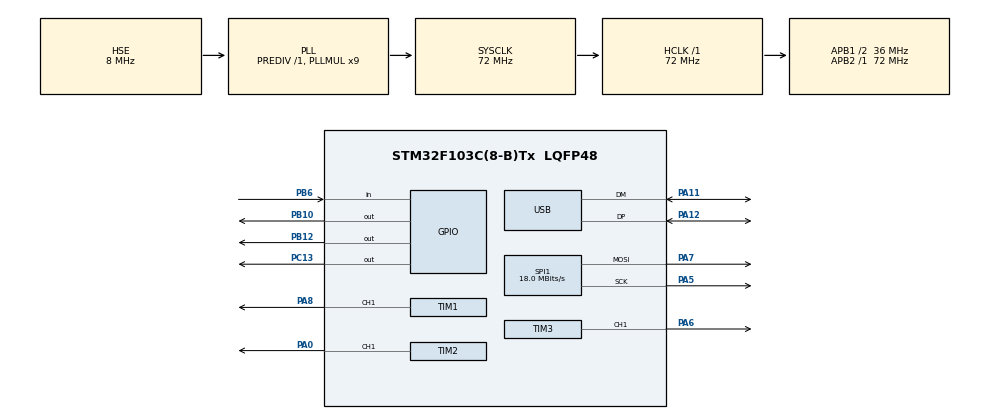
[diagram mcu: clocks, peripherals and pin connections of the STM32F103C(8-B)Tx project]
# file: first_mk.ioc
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Mcu.Family=STM32F1
USB_DEVICE.CLASS_NAME_FS=CDC
SPI1.VirtualType=VM_MASTER
PA11.Mode=Device
NVIC.TIM1_UP_IRQn=true\:0\:0\:false\:false\:true\:true\:true
RCC.SYSCLKSource=RCC_SYSCLKSOURCE_PLLCLK
ProjectManager.StackSize=0x400
PD1-OSC_OUT.Signal=RCC_OSC_OUT
USB_DEVICE.MANUFACTURER_STRING=STmMicroelectronics
PA12.Signal=USB_DP
TIM1.Prescaler=0
SPI1.CLKPolarity=SPI_POLARITY_HIGH
SPI1.Direction=SPI_DIRECTION_2LINES
RCC.HCLKFreq_Value=72000000
RCC.APB2TimFreq_Value=72000000
TIM3.Period=719
PB6.Signal=GPIO_Input
SPI1.CalculateBaudRate=18.0 MBits/s
RCC.AHBFreq_Value=72000000
TIM3.Channel-PWM\ Generation1\ CH1=TIM_CHANNEL_1
RCC.PLLMUL=RCC_PLL_MUL9
TIM1.Channel-PWM\ Generation1\ CH1=TIM_CHANNEL_1
PA14.Mode=Serial_Wire
TIM3.Prescaler=0
NVIC.TIM2_IRQn=true\:0\:0\:false\:false\:true\:true\:true
SPI1.DataSize=SPI_DATASIZE_16BIT
PA8.Signal=S_TIM1_CH1
TIM2.Channel-PWM\ Generation1\ CH1=TIM_CHANNEL_1
SH.S_TIM3_CH1.0=TIM3_CH1,PWM Generation1 CH1
TIM4.Period=17999
VP_TIM3_VS_ClockSourceITR.Mode=TriggerSource_ITR1
VP_TIM1_VS_ClockSourceINT.Mode=Internal
Mcu.Package=LQFP48
TIM2.Prescaler=719
PA6.Signal=S_TIM3_CH1
TIM2.TIM_MasterOutputTrigger=TIM_TRGO_ENABLE
RCC.APB1TimFreq_Value=72000000
TIM1.Period=1799
SPI1.BaudRatePrescaler=SPI_BAUDRATEPRESCALER_4
VP_TIM3_VS_ClockSourceINT.Mode=Internal
PA5.Mode=TX_Only_Simplex_Unidirect_Master
RCC.PLLSourceVirtual=RCC_PLLSOURCE_HSE
TIM1.OCPolarity_1=TIM_OCPOLARITY_HIGH
PA7.Mode=TX_Only_Simplex_Unidirect_Master
PD1-OSC_OUT.Mode=HSE-External-Oscillator
USB_DEVICE.VirtualModeFS=Cdc_FS
TIM2.OCMode_PWM-PWM\ Generation1\ CH1=TIM_OCMODE_PWM2
PB6.GPIO_PuPd=GPIO_PULLUP
PC13-TAMPER-RTC.Signal=GPIO_Output
RCC.USBPrescaler=RCC_USBCLKSOURCE_PLL_DIV1_5
SPI1.CLKPhase=SPI_PHASE_2EDGE
PD0-OSC_IN.Signal=RCC_OSC_IN
RCC.APB1CLKDivider=RCC_HCLK_DIV2
PA0-WKUP.Signal=S_TIM2_CH1_ETR
PA13.Signal=SYS_JTMS-SWDIO
TIM1.AutoReloadPreload=TIM_AUTORELOAD_PRELOAD_DISABLE
TIM3.Pulse-PWM\ Generation1\ CH1=1
SH.S_TIM1_CH1.0=TIM1_CH1,PWM Generation1 CH1
ProjectManager.TargetToolchain=STM32CubeIDE
USB_DEVICE.PRODUCT_STRING_CDC_FS=STM32 Vvirtual ComPort
VP_USB_DEVICE_VS_USB_DEVICE_CDC_FS.Mode=CDC_FS
RCC.USBFreq_Value=48000000
TIM4.Prescaler=3
PD0-OSC_IN.Mode=HSE-External-Oscillator
PB10.Signal=GPIO_Output
PA5.Signal=SPI1_SCK
board=custom
NVIC.TIM3_IRQn=true\:0\:0\:false\:false\:true\:true\:true
TIM1.TIM_MasterOutputTrigger=TIM_TRGO_RESET
RCC.APB2Freq_Value=72000000
VP_TIM2_VS_ClockSourceINT.Mode=Internal
SPI1.Mode=SPI_MODE_MASTER
NVIC.USB_LP_CAN1_RX0_IRQn=true\:1\:0\:true\:false\:true\:false\:true
TIM2.Period=9
PA13.Mode=Serial_Wire
Mcu.Name=STM32F103C(8-B)Tx
RCC.SYSCLKFreq_VALUE=72000000
PA12.Mode=Device
TIM3.TIM_MasterSlaveMode=TIM_MASTERSLAVEMODE_ENABLE
PA11.Signal=USB_DM
SH.S_TIM2_CH1_ETR.0=TIM2_CH1,PWM Generation1 CH1
PA14.Signal=SYS_JTCK-SWCLK
ProjectManager.HeapSize=0x200
VP_TIM4_VS_ClockSourceINT.Mode=Internal
NVIC.PriorityGroup=NVIC_PRIORITYGROUP_4
VP_TIM3_VS_ControllerModeGated.Mode=Gated Mode
TIM2.TIM_MasterSlaveMode=TIM_MASTERSLAVEMODE_ENABLE
TIM3.TIM_MasterOutputTrigger=TIM_TRGO_ENABLE
NVIC.TIM4_IRQn=true\:0\:0\:false\:false\:true\:true\:true
RCC.APB1Freq_Value=36000000
USB_DEVICE.VirtualMode=Cdc
PB12.Signal=GPIO_Output
PA7.Signal=SPI1_MOSI

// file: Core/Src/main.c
// This is a personal academic project. Dear PVS-Studio, please check it.
// PVS-Studio Static Code Analyzer for C, C++, C#, and Java: https://pvs-studio.com

/* USER CODE BEGIN Header */
/**
  ******************************************************************************
  * @file           : main.c
  * @brief          : Main program body
  ******************************************************************************
  * @attention
  *
  * <h2><center>&copy; Copyright (c) 2020 STMicroelectronics.
  * All rights reserved.</center></h2>
  *
  * This software component is licensed by ST under BSD 3-Clause license,
  * the "License"; You may not use this file except in compliance with the
  * License. You may obtain a copy of the License at:
  *                        opensource.org/licenses/BSD-3-Clause
  *
  ******************************************************************************
  */
/* USER CODE END Header */
#include "main.h"
#include "usb_device.h"

/* USER CODE BEGIN Includes */
#include "communicationWithPC.h"
#include "usbd_cdc_if.h"
#include "skinConduction.h"
#include "hearing.h"
/* USER CODE END Includes */

/* USER CODE BEGIN PD */
#define SEND_VAR(var_addr) do{}while(CDC_Transmit_FS((uint8_t*) (var_addr), sizeof(*(var_addr)))==USBD_BUSY)
/* USER CODE END PD */

SPI_HandleTypeDef hspi1;

TIM_HandleTypeDef htim1;
TIM_HandleTypeDef htim2;
TIM_HandleTypeDef htim3;
TIM_HandleTypeDef htim4;

void SystemClock_Config(void);
static void MX_GPIO_Init(void);
static void MX_TIM1_Init(void);
static void MX_TIM4_Init(void);
static void MX_TIM3_Init(void);
static void MX_TIM2_Init(void);
static void MX_SPI1_Init(void);

/* USER CODE BEGIN 0 */
volatile Measures currMeasure;
Button button;
CommandWriter writer;
SkinConductionTester skinTester;
TonePin* tone_pins; /// This is the array of pins that make tones. The first pin is A10 (equals right speaker) and the second is A9 (equals left speaker)
HearingTester hearingTester;
RandInitializer randInitializer;

void send_command(CommandWriter* ptr);
/* USER CODE END 0 */

int main(void)
{

  /* MCU Configuration--------------------------------------------------------*/

  /* Reset of all peripherals, Initializes the Flash interface and the Systick. */
  HAL_Init();

  /* Configure the system clock */
  SystemClock_Config();

  /* Initialize all configured peripherals */
  MX_GPIO_Init();
  MX_TIM1_Init();
  MX_USB_DEVICE_Init();
  MX_TIM4_Init();
  MX_TIM3_Init();
  MX_TIM2_Init();
  MX_SPI1_Init();
  /* USER CODE BEGIN 2 */

    uint16_t LED_flashs_delay;
#ifndef NDEBUG
    LED_flashs_delay = 300;
#else
    LED_flashs_delay = 150;
#endif
    HAL_GPIO_WritePin(GPIOC, GPIO_PIN_13, GPIO_PIN_RESET);
    HAL_Delay(LED_flashs_delay);
    HAL_GPIO_TogglePin(GPIOC, GPIO_PIN_13);
    HAL_Delay(LED_flashs_delay);
    HAL_GPIO_TogglePin(GPIOC, GPIO_PIN_13);
    HAL_Delay(LED_flashs_delay - 100);
//    HAL_GPIO_WritePin(GPIOC, GPIO_PIN_13, GPIO_PIN_SET); // located below (after initialisation)

    write_pin_if_in_debug(GPIOB, GPIO_PIN_12, GPIO_PIN_SET);//show that initialisation started

    currMeasure = None;
    RandInitializer_ctor(&randInitializer);

    ConstructDiode(&skinTester);

    TonePin tone_pins_init[2];
    TonePin_ctor(&tone_pins_init[0], LeftDynamic);
    tone_pins_init[0].dx[0] = freq_to_dx(&tone_pins_init[0], NOTE_A4);//A4 == 440 Hz
    TonePin_ctor(&tone_pins_init[1], RightDynamic);
    tone_pins_init[1].dx[0] = freq_to_dx(&tone_pins_init[1], NOTE_A4);
    tone_pins=tone_pins_init;

    Pin button_pin = {GPIOB, GPIO_PIN_6};
    Button_ctor(&button, button_pin);

    CommandWriter_ctor(&writer);

    HearingTester_ctor(&hearingTester);
    uint16_t notes_1[] = {NOTE_C4, NOTE_G3, NOTE_G3, NOTE_A3, NOTE_G3, 0, NOTE_B3, NOTE_C4};
    uint8_t durations_1[] = {4, 8, 8, 4, 4, 4, 4, 4};

    write_pin_if_in_debug(GPIOB, GPIO_PIN_12, GPIO_PIN_RESET);//show that initialisation finished
    HAL_GPIO_WritePin(GPIOC, GPIO_PIN_13, GPIO_PIN_SET);

//#define DEBUG_BY_ST_LINK // macro need for preventing mk responding by USB
//    uint8_t cmd_10[]={0x10, 0x05, 0x00, 0x00, 0x50, 0xc3, 0xa0, 0x0f, 0xf1}; // volume - 50000, freq - 4000
//    process_cmd(cmd_10, sizeof_arr(cmd_10));
//    uint8_t cmd_11[]={0x11, 0x03, 0x00, 0x01, 0x0b, 0x02, 0x3b}; // freq - 523
//    uint8_t cmd_11[] = {0x11, 0x03, 0x00, 0x01, 0xa0, 0x0f, 0xdd}; // freq - 4000
//    uint8_t cmd_12_prep[] = {0x12, 0x03, 0x00, 0x00, 0x00, 0x00, 0x2d}; // wait_for_press
//    uint8_t cmd_12[] = {0x12, 0x02, 0x00, 0xd6, 0x01, 0x03}; // ampl - 470
//    uint8_t cmd_13[] = {0x13, 0x00, 0x00, 0x2a};
//    process_cmd(cmd_11, sizeof_arr(cmd_11));
//    process_cmd(cmd_12_prep, sizeof_arr(cmd_12_prep));
//    process_cmd(cmd_12, sizeof_arr(cmd_12));
//    process_cmd(cmd_13, sizeof_arr(cmd_13));
//    process_cmd(cmd_13, sizeof_arr(cmd_13));
//    uint8_t cmd_12[] = {0x12, 0x02, 0x00, 0xff, 0xff, 0x2a};
//    uint8_t cmd_18[]={0x18, 0x0a, 0x00,   0x64, 0x00, 0x0a, 0x00,   0x0a, 0x00, 0x0a, 0x00,   0xd0, 0x07, 0x8d};
//    len = sizeof_arr(cmd_12);
//    process_cmd(cmd_12, &len);

  /* USER CODE END 2 */

  /* Infinite loop */
  /* USER CODE BEGIN WHILE */
    // Код для дебага режима болевой чувствительности
//    int len = 14;
//    uint8_t buf[] = {24, 10, 0, 50, 0, 200, 0, 10, 0, 150, 0, 208, 7, 165};
 //   process_cmd(buf, &len);
  while (1)
  {
      if (currMeasure == Hearing)
      {
          hearing_handle(&hearingTester);
      }
      if (currMeasure == SkinConduction && (button.state == Pressed || button.state == Timeout))
      {
          SkinConductionEnd(&skinTester);
      }
      if (writer.is_sending)
      {
          send_command(&writer);
      }
    /* USER CODE END WHILE */

    /* USER CODE BEGIN 3 */
  }

#ifdef __clang__
#pragma clang diagnostic push
#pragma ide diagnostic ignored "hicpp-signed-bitwise"
#pragma ide diagnostic ignored "OCInconsistentNamingInspection"
#endif

  /* USER CODE END 3 */
}

void SystemClock_Config(void)
{
  RCC_OscInitTypeDef RCC_OscInitStruct = {0};
  RCC_ClkInitTypeDef RCC_ClkInitStruct = {0};
  RCC_PeriphCLKInitTypeDef PeriphClkInit = {0};

  /** Initializes the RCC Oscillators according to the specified parameters
  * in the RCC_OscInitTypeDef structure.
  */
  RCC_OscInitStruct.OscillatorType = RCC_OSCILLATORTYPE_HSE;
  RCC_OscInitStruct.HSEState = RCC_HSE_ON;
  RCC_OscInitStruct.HSEPredivValue = RCC_HSE_PREDIV_DIV1;
  RCC_OscInitStruct.HSIState = RCC_HSI_ON;
  RCC_OscInitStruct.PLL.PLLState = RCC_PLL_ON;
  RCC_OscInitStruct.PLL.PLLSource = RCC_PLLSOURCE_HSE;
  RCC_OscInitStruct.PLL.PLLMUL = RCC_PLL_MUL9;
  if (HAL_RCC_OscConfig(&RCC_OscInitStruct) != HAL_OK)
  {
    Error_Handler();
  }
  /** Initializes the CPU, AHB and APB buses clocks
  */
  RCC_ClkInitStruct.ClockType = RCC_CLOCKTYPE_HCLK|RCC_CLOCKTYPE_SYSCLK
                              |RCC_CLOCKTYPE_PCLK1|RCC_CLOCKTYPE_PCLK2;
  RCC_ClkInitStruct.SYSCLKSource = RCC_SYSCLKSOURCE_PLLCLK;
  RCC_ClkInitStruct.AHBCLKDivider = RCC_SYSCLK_DIV1;
  RCC_ClkInitStruct.APB1CLKDivider = RCC_HCLK_DIV2;
  RCC_ClkInitStruct.APB2CLKDivider = RCC_HCLK_DIV1;

  if (HAL_RCC_ClockConfig(&RCC_ClkInitStruct, FLASH_LATENCY_2) != HAL_OK)
  {
    Error_Handler();
  }
  PeriphClkInit.PeriphClockSelection = RCC_PERIPHCLK_USB;
  PeriphClkInit.UsbClockSelection = RCC_USBCLKSOURCE_PLL_DIV1_5;
  if (HAL_RCCEx_PeriphCLKConfig(&PeriphClkInit) != HAL_OK)
  {
    Error_Handler();
  }
}

static void MX_SPI1_Init(void)
{

  /* SPI1 parameter configuration*/
  hspi1.Instance = SPI1;
  hspi1.Init.Mode = SPI_MODE_MASTER;
  hspi1.Init.Direction = SPI_DIRECTION_1LINE;
  hspi1.Init.DataSize = SPI_DATASIZE_16BIT;
  hspi1.Init.CLKPolarity = SPI_POLARITY_HIGH;
  hspi1.Init.CLKPhase = SPI_PHASE_2EDGE;
  hspi1.Init.NSS = SPI_NSS_SOFT;
  hspi1.Init.BaudRatePrescaler = SPI_BAUDRATEPRESCALER_4;
  hspi1.Init.FirstBit = SPI_FIRSTBIT_MSB;
  hspi1.Init.TIMode = SPI_TIMODE_DISABLE;
  hspi1.Init.CRCCalculation = SPI_CRCCALCULATION_DISABLE;
  hspi1.Init.CRCPolynomial = 10;
  if (HAL_SPI_Init(&hspi1) != HAL_OK)
  {
    Error_Handler();
  }

}

static void MX_TIM1_Init(void)
{

  TIM_ClockConfigTypeDef sClockSourceConfig = {0};
  TIM_MasterConfigTypeDef sMasterConfig = {0};
  TIM_OC_InitTypeDef sConfigOC = {0};
  TIM_BreakDeadTimeConfigTypeDef sBreakDeadTimeConfig = {0};

  htim1.Instance = TIM1;
  htim1.Init.Prescaler = 0;
  htim1.Init.CounterMode = TIM_COUNTERMODE_UP;
  htim1.Init.Period = 1799;
  htim1.Init.ClockDivision = TIM_CLOCKDIVISION_DIV1;
  htim1.Init.RepetitionCounter = 0;
  htim1.Init.AutoReloadPreload = TIM_AUTORELOAD_PRELOAD_DISABLE;
  if (HAL_TIM_Base_Init(&htim1) != HAL_OK)
  {
    Error_Handler();
  }
  sClockSourceConfig.ClockSource = TIM_CLOCKSOURCE_INTERNAL;
  if (HAL_TIM_ConfigClockSource(&htim1, &sClockSourceConfig) != HAL_OK)
  {
    Error_Handler();
  }
  if (HAL_TIM_PWM_Init(&htim1) != HAL_OK)
  {
    Error_Handler();
  }
  sMasterConfig.MasterOutputTrigger = TIM_TRGO_RESET;
  sMasterConfig.MasterSlaveMode = TIM_MASTERSLAVEMODE_DISABLE;
  if (HAL_TIMEx_MasterConfigSynchronization(&htim1, &sMasterConfig) != HAL_OK)
  {
    Error_Handler();
  }
  sConfigOC.OCMode = TIM_OCMODE_PWM1;
  sConfigOC.Pulse = 0;
  sConfigOC.OCPolarity = TIM_OCPOLARITY_HIGH;
  sConfigOC.OCNPolarity = TIM_OCNPOLARITY_HIGH;
  sConfigOC.OCFastMode = TIM_OCFAST_DISABLE;
  sConfigOC.OCIdleState = TIM_OCIDLESTATE_RESET;
  sConfigOC.OCNIdleState = TIM_OCNIDLESTATE_RESET;
  if (HAL_TIM_PWM_ConfigChannel(&htim1, &sConfigOC, TIM_CHANNEL_1) != HAL_OK)
  {
    Error_Handler();
  }
  sBreakDeadTimeConfig.OffStateRunMode = TIM_OSSR_DISABLE;
  sBreakDeadTimeConfig.OffStateIDLEMode = TIM_OSSI_DISABLE;
  sBreakDeadTimeConfig.LockLevel = TIM_LOCKLEVEL_OFF;
  sBreakDeadTimeConfig.DeadTime = 0;
  sBreakDeadTimeConfig.BreakState = TIM_BREAK_DISABLE;
  sBreakDeadTimeConfig.BreakPolarity = TIM_BREAKPOLARITY_HIGH;
  sBreakDeadTimeConfig.AutomaticOutput = TIM_AUTOMATICOUTPUT_DISABLE;
  if (HAL_TIMEx_ConfigBreakDeadTime(&htim1, &sBreakDeadTimeConfig) != HAL_OK)
  {
    Error_Handler();
  }
  HAL_TIM_MspPostInit(&htim1);

}

static void MX_TIM2_Init(void)
{

  TIM_ClockConfigTypeDef sClockSourceConfig = {0};
  TIM_MasterConfigTypeDef sMasterConfig = {0};
  TIM_OC_InitTypeDef sConfigOC = {0};

  htim2.Instance = TIM2;
  htim2.Init.Prescaler = 719;
  htim2.Init.CounterMode = TIM_COUNTERMODE_UP;
  htim2.Init.Period = 9;
  htim2.Init.ClockDivision = TIM_CLOCKDIVISION_DIV1;
  htim2.Init.AutoReloadPreload = TIM_AUTORELOAD_PRELOAD_DISABLE;
  if (HAL_TIM_Base_Init(&htim2) != HAL_OK)
  {
    Error_Handler();
  }
  sClockSourceConfig.ClockSource = TIM_CLOCKSOURCE_INTERNAL;
  if (HAL_TIM_ConfigClockSource(&htim2, &sClockSourceConfig) != HAL_OK)
  {
    Error_Handler();
  }
  if (HAL_TIM_PWM_Init(&htim2) != HAL_OK)
  {
    Error_Handler();
  }
  sMasterConfig.MasterOutputTrigger = TIM_TRGO_ENABLE;
  sMasterConfig.MasterSlaveMode = TIM_MASTERSLAVEMODE_ENABLE;
  if (HAL_TIMEx_MasterConfigSynchronization(&htim2, &sMasterConfig) != HAL_OK)
  {
    Error_Handler();
  }
  sConfigOC.OCMode = TIM_OCMODE_PWM2;
  sConfigOC.Pulse = 0;
  sConfigOC.OCPolarity = TIM_OCPOLARITY_HIGH;
  sConfigOC.OCFastMode = TIM_OCFAST_DISABLE;
  if (HAL_TIM_PWM_ConfigChannel(&htim2, &sConfigOC, TIM_CHANNEL_1) != HAL_OK)
  {
    Error_Handler();
  }
  HAL_TIM_MspPostInit(&htim2);

}

static void MX_TIM3_Init(void)
{

  TIM_ClockConfigTypeDef sClockSourceConfig = {0};
  TIM_SlaveConfigTypeDef sSlaveConfig = {0};
  TIM_MasterConfigTypeDef sMasterConfig = {0};
  TIM_OC_InitTypeDef sConfigOC = {0};

  htim3.Instance = TIM3;
  htim3.Init.Prescaler = 0;
  htim3.Init.CounterMode = TIM_COUNTERMODE_UP;
  htim3.Init.Period = 719;
  htim3.Init.ClockDivision = TIM_CLOCKDIVISION_DIV1;
  htim3.Init.AutoReloadPreload = TIM_AUTORELOAD_PRELOAD_DISABLE;
  if (HAL_TIM_Base_Init(&htim3) != HAL_OK)
  {
    Error_Handler();
  }
  sClockSourceConfig.ClockSource = TIM_CLOCKSOURCE_INTERNAL;
  if (HAL_TIM_ConfigClockSource(&htim3, &sClockSourceConfig) != HAL_OK)
  {
    Error_Handler();
  }
  if (HAL_TIM_PWM_Init(&htim3) != HAL_OK)
  {
    Error_Handler();
  }
  sSlaveConfig.SlaveMode = TIM_SLAVEMODE_GATED;
  sSlaveConfig.InputTrigger = TIM_TS_ITR1;
  if (HAL_TIM_SlaveConfigSynchro(&htim3, &sSlaveConfig) != HAL_OK)
  {
    Error_Handler();
  }
  sMasterConfig.MasterOutputTrigger = TIM_TRGO_ENABLE;
  sMasterConfig.MasterSlaveMode = TIM_MASTERSLAVEMODE_ENABLE;
  if (HAL_TIMEx_MasterConfigSynchronization(&htim3, &sMasterConfig) != HAL_OK)
  {
    Error_Handler();
  }
  sConfigOC.OCMode = TIM_OCMODE_PWM1;
  sConfigOC.Pulse = 1;
  sConfigOC.OCPolarity = TIM_OCPOLARITY_HIGH;
  sConfigOC.OCFastMode = TIM_OCFAST_DISABLE;
  if (HAL_TIM_PWM_ConfigChannel(&htim3, &sConfigOC, TIM_CHANNEL_3) != HAL_OK)
  {
    Error_Handler();
  }
  HAL_TIM_MspPostInit(&htim3);

}

static void MX_TIM4_Init(void)
{

  TIM_ClockConfigTypeDef sClockSourceConfig = {0};
  TIM_MasterConfigTypeDef sMasterConfig = {0};

  htim4.Instance = TIM4;
  htim4.Init.Prescaler = 3;
  htim4.Init.CounterMode = TIM_COUNTERMODE_UP;
  htim4.Init.Period = 17999;
  htim4.Init.ClockDivision = TIM_CLOCKDIVISION_DIV1;
  htim4.Init.AutoReloadPreload = TIM_AUTORELOAD_PRELOAD_DISABLE;
  if (HAL_TIM_Base_Init(&htim4) != HAL_OK)
  {
    Error_Handler();
  }
  sClockSourceConfig.ClockSource = TIM_CLOCKSOURCE_INTERNAL;
  if (HAL_TIM_ConfigClockSource(&htim4, &sClockSourceConfig) != HAL_OK)
  {
    Error_Handler();
  }
  sMasterConfig.MasterOutputTrigger = TIM_TRGO_RESET;
  sMasterConfig.MasterSlaveMode = TIM_MASTERSLAVEMODE_DISABLE;
  if (HAL_TIMEx_MasterConfigSynchronization(&htim4, &sMasterConfig) != HAL_OK)
  {
    Error_Handler();
  }

}

static void MX_GPIO_Init(void)
{
  GPIO_InitTypeDef GPIO_InitStruct = {0};

  /* GPIO Ports Clock Enable */
  __HAL_RCC_GPIOC_CLK_ENABLE();
  __HAL_RCC_GPIOD_CLK_ENABLE();
  __HAL_RCC_GPIOA_CLK_ENABLE();
  __HAL_RCC_GPIOB_CLK_ENABLE();

  /*Configure GPIO pin Output Level */
  HAL_GPIO_WritePin(GPIOC, GPIO_PIN_13, GPIO_PIN_RESET);

  /*Configure GPIO pin Output Level */
  HAL_GPIO_WritePin(GPIOB, GPIO_PIN_10|GPIO_PIN_12, GPIO_PIN_RESET);

  /*Configure GPIO pin : PC13 */
  GPIO_InitStruct.Pin = GPIO_PIN_13;
  GPIO_InitStruct.Mode = GPIO_MODE_OUTPUT_PP;
  GPIO_InitStruct.Pull = GPIO_NOPULL;
  GPIO_InitStruct.Speed = GPIO_SPEED_FREQ_LOW;
  HAL_GPIO_Init(GPIOC, &GPIO_InitStruct);

  /*Configure GPIO pins : PB10 PB12 */
  GPIO_InitStruct.Pin = GPIO_PIN_10|GPIO_PIN_12;
  GPIO_InitStruct.Mode = GPIO_MODE_OUTPUT_PP;
  GPIO_InitStruct.Pull = GPIO_NOPULL;
  GPIO_InitStruct.Speed = GPIO_SPEED_FREQ_LOW;
  HAL_GPIO_Init(GPIOB, &GPIO_InitStruct);

  /*Configure GPIO pin : PB6 */
  GPIO_InitStruct.Pin = GPIO_PIN_6;
  GPIO_InitStruct.Mode = GPIO_MODE_INPUT;
  GPIO_InitStruct.Pull = GPIO_PULLUP;
  HAL_GPIO_Init(GPIOB, &GPIO_InitStruct);

}

/* USER CODE BEGIN 4 */
void send_command(CommandWriter* ptr)
{
#if !defined(DEBUG_BY_ST_LINK)
    while (CDC_Transmit_FS(ptr->buffer, ptr->length) == USBD_BUSY){}
#endif
    ptr->buffer[LenL]=0;
    ptr->buffer[LenH]=0;
    ptr->length = (1 + 1 + 1) * sizeof(uint8_t);///CC, LenH, LenL
    write_pin_if_in_debug(GPIOC, GPIO_PIN_13, GPIO_PIN_SET);
    ptr->is_sending = false;
}
#ifdef __clang__
#pragma clang diagnostic pop
#endif
/* USER CODE END 4 */

void Error_Handler(void)
{
}

/************************ (C) COPYRIGHT STMicroelectronics *****END OF FILE****/
